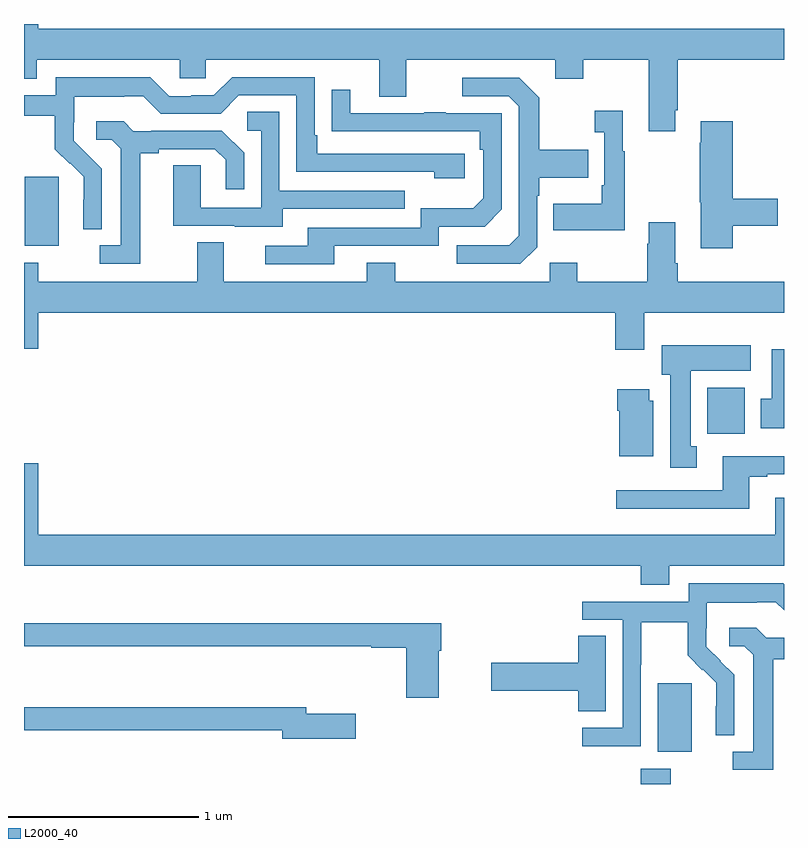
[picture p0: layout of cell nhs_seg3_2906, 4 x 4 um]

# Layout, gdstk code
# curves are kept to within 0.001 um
import gdstk
lib = gdstk.Library(unit=1e-6, precision=1e-09)
def R(c, l, rs):  # rectangles x0, y0, x1, y1
    for r in rs: c.add(gdstk.rectangle(r[:2], r[2:], *l))
def P(c, l, *ps):  # polygons
    for p in ps: c.add(gdstk.Polygon(p, *l))
L2000_40 = (2000, 40)

nhs_seg3_2906 = lib.new_cell('nhs_seg3_2906')
R(nhs_seg3_2906, L2000_40, [(264.245,734.4,264.405,734.479), (264.335,734.57,264.514,734.931), (264.596,736.244,264.793,736.486), (261.005,737.234,261.184,737.595)])
P(nhs_seg3_2906, L2000_40, [(264.427,737.947),(264.44,737.947),(264.44,738.212),(265,738.212),(265,738.376),(261.076,738.376),(261.076,738.4),(261,738.4),(261,738.113),(261.067,738.113),(261.067,738.212),(261.819,738.212),(261.819,738.114),(261.957,738.114),(261.957,738.212),(262.871,738.212),(262.871,738.018),(263.011,738.018),(263.011,738.212),(263.795,738.212),(263.795,738.113),(263.943,738.113),(263.943,738.212),(264.287,738.212),(264.287,737.835),(264.427,737.835)],
  [(261.408,737.638),(261.262,737.786),(261.262,737.883),(261.264,737.883),(261.264,738.017),(261.527,738.017),(261.527,738.021),(261.627,738.021),(261.72,737.928),(262.035,737.928),(262.131,738.024),(262.434,738.024),(262.434,737.622),(263.159,737.622),(263.159,737.588),(263.32,737.588),(263.32,737.718),(262.543,737.718),(262.543,737.815),(262.53,737.815),(262.53,738.12),(262.095,738.12),(261.999,738.024),(261.881,738.024),(261.881,738.021),(261.765,738.021),(261.665,738.121),(261.168,738.121),(261.168,738.024),(261,738.024),(261,737.916),(261.163,737.916),(261.163,737.741),(261.24,737.664),(261.243,737.667),(261.314,737.597),(261.314,737.474),(261.312,737.474),(261.312,737.32),(261.408,737.32)],
  [(263.7,737.226),(263.7,737.495),(263.713,737.495),(263.713,737.591),(263.969,737.591),(263.969,737.739),(263.713,737.739),(263.713,738.011),(263.607,738.117),(263.307,738.117),(263.307,738.021),(263.55,738.021),(263.604,737.967),(263.604,737.286),(263.553,737.235),(263.277,737.235),(263.277,737.139),(263.613,737.139)],
  [(262.633,737.232),(263.184,737.232),(263.184,737.334),(263.424,737.334),(263.514,737.424),(263.514,737.931),(263.219,737.931),(263.219,737.936),(263.107,737.936),(263.107,737.931),(262.717,737.931),(262.717,738.055),(262.621,738.055),(262.621,737.836),(263.398,737.835),(263.398,737.738),(263.418,737.738),(263.418,737.484),(263.365,737.431),(263.088,737.431),(263.088,737.328),(262.493,737.328),(262.493,737.232),(262.269,737.232),(262.269,737.136),(262.633,737.136)],
  [(264.163,737.731),(264.151,737.731),(264.151,737.944),(264.003,737.944),(264.003,737.831),(264.054,737.831),(264.054,737.551),(264.042,737.551),(264.042,737.455),(263.785,737.455),(263.785,737.315),(264.163,737.315)],
  [(262.363,737.427),(263.003,737.427),(263.003,737.523),(262.344,737.523),(262.344,737.939),(262.176,737.939),(262.176,737.838),(262.248,737.838),(262.248,737.433),(261.93,737.433),(261.93,737.657),(261.785,737.657),(261.785,737.337),(262.109,737.337),(262.109,737.333),(262.363,737.333)],
  [(261.613,737.72),(261.709,737.72),(261.709,737.742),(262.004,737.742),(262.061,737.685),(262.061,737.529),(262.158,737.529),(262.158,737.722),(262.042,737.838),(261.67,737.838),(261.67,737.835),(261.576,737.835),(261.524,737.887),(261.381,737.887),(261.381,737.79),(261.462,737.79),(261.509,737.743),(261.509,737.235),(261.399,737.235),(261.399,737.139),(261.613,737.139)],
  [(264.731,737.338),(264.967,737.338),(264.967,737.48),(264.731,737.48),(264.731,737.887),(264.563,737.887),(264.563,737.774),(264.556,737.774),(264.556,737.463),(264.563,737.463),(264.563,737.22),(264.731,737.22)],
  [(264.265,736.88),(265,736.88),(265,737.044),(264.44,737.044),(264.44,737.14),(264.427,737.14),(264.427,737.356),(264.287,737.356),(264.287,737.243),(264.28,737.243),(264.28,737.044),(263.913,737.044),(263.913,737.143),(263.766,737.143),(263.766,737.044),(262.953,737.044),(262.953,737.143),(262.805,737.143),(262.805,737.044),(262.051,737.044),(262.051,737.252),(261.911,737.252),(261.911,737.044),(261.075,737.044),(261.075,737.143),(261,737.143),(261,736.692),(261.076,736.692),(261.076,736.88),(264.113,736.88),(264.113,736.686),(264.265,736.686)],
  [(264.541,736.178),(264.508,736.178),(264.508,736.574),(264.826,736.574),(264.826,736.708),(264.356,736.708),(264.356,736.554),(264.401,736.554),(264.401,736.065),(264.541,736.065)],
  [(265,736.687),(264.935,736.687),(264.935,736.428),(264.878,736.428),(264.878,736.272),(265,736.272)],
  [(264.313,736.416),(264.292,736.416),(264.292,736.477),(264.122,736.477),(264.122,736.364),(264.134,736.364),(264.134,736.124),(264.313,736.124)],
  [(264.817,736.017),(264.913,736.017),(264.913,736.029),(265,736.029),(265,736.126),(264.677,736.126),(264.677,735.945),(264.117,735.945),(264.117,735.848),(264.817,735.848)],
  [(264.397,735.548),(265,735.548),(265,735.907),(264.953,735.907),(264.953,735.712),(261.076,735.712),(261.076,736.087),(261,736.087),(261,735.548),(264.245,735.548),(264.245,735.449),(264.397,735.449)],
  [(264.246,735.028),(264.249,735.028),(264.249,735.252),(264.493,735.252),(264.493,735.077),(264.57,735),(264.573,735.003),(264.644,734.933),(264.644,734.81),(264.642,734.81),(264.642,734.656),(264.738,734.656),(264.738,734.974),(264.592,735.122),(264.592,735.219),(264.594,735.219),(264.594,735.353),(264.857,735.353),(264.857,735.357),(264.957,735.357),(265,735.314),(265,735.452),(264.995,735.457),(264.498,735.457),(264.498,735.36),(263.937,735.36),(263.937,735.264),(264.15,735.264),(264.15,734.697),(263.937,734.697),(263.937,734.599),(264.246,734.599)],
  [(263.182,735.101),(263.195,735.101),(263.195,735.247),(261,735.247),(261,735.126),(262.828,735.126),(262.828,735.118),(263.012,735.118),(263.012,734.853),(263.182,734.853)],
  [(264.943,735.056),(265,735.056),(265,735.171),(264.906,735.171),(264.854,735.223),(264.711,735.223),(264.711,735.126),(264.792,735.126),(264.839,735.079),(264.839,734.571),(264.729,734.571),(264.729,734.475),(264.943,734.475)],
  [(264.061,735.179),(263.918,735.179),(263.918,735.038),(263.46,735.038),(263.46,734.891),(263.918,734.891),(263.918,734.782),(264.061,734.782)],
  [(262.747,734.769),(262.486,734.769),(262.486,734.803),(261,734.803),(261,734.682),(262.358,734.682),(262.358,734.639),(262.747,734.639)])

lib.write_gds('nhs_seg3_2906.gds')
